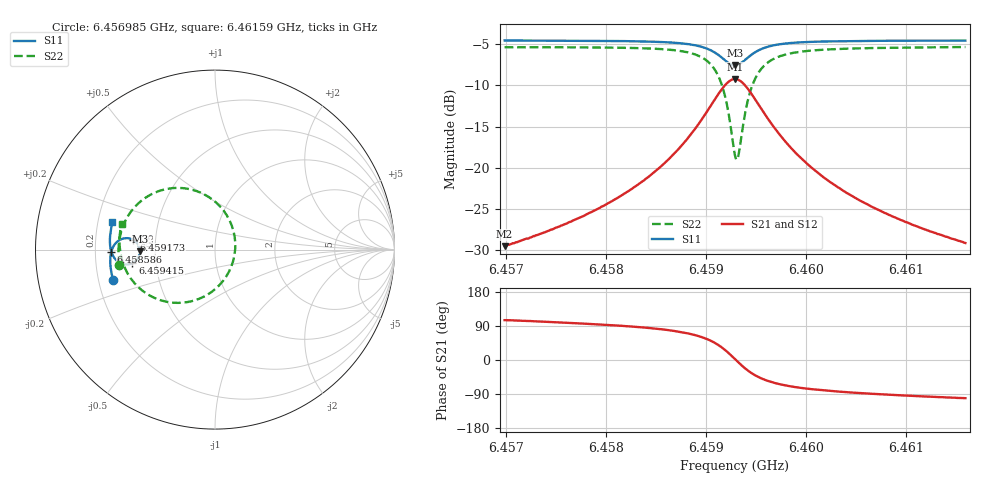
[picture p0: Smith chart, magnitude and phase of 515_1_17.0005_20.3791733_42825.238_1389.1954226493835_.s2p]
#  HZ  S  RI  R  50.00
! Rohde & Schwarz Vector Network Analyzer
! Rohde-Schwarz,ZNB20-2Port,1311601062101988,3.16
! Created: UTC 3/20/2024, 11:15:09 PM
! freq[Hz]  re:S11  im:S11  re:S21  im:S21  re:S12  im:S12  re:S22  im:S22
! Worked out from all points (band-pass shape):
!   401 points, 6.456985 GHz to 6.46159 GHz, reference 50 ohm
!   highest |S21| = -9.23 dB at 6.459288 GHz (marker M1); lowest = -29.5 dB at 6.456985 GHz (marker M2)
!   |S21| within 3 dB of the highest: 6.459058 GHz to 6.459518 GHz (460.3 kHz wide, 0.00713 % of centre)
!   lowest |S11| = -7.6 dB at 6.459288 GHz (marker M3), VSWR 2.44, Z = 20.5 - j0.474 ohm
!   |S11| at or under -10 dB: nowhere
!   |S22| runs from -19.0 to -5.3 dB; largest |S21 - S12| = 0.014
!   S11 on the Smith chart (normalised r, x): 6.456985 GHz: 0.26, -0.14; 6.458586 GHz: 0.27, -0.01; 6.459173 GHz: 0.37, +0.05; 6.459415 GHz: 0.37, -0.07; 6.46159 GHz: 0.26, +0.12
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6.4569854e9  -0.5668 -0.1716  -0.00877 0.0324  -0.00715 0.0322  -0.5321 -0.0842
6.4577567e9  -0.5809 -0.1042  -0.00564 0.0503  -0.00301 0.0498  -0.5376 0.00603
6.4581597e9  -0.5837 -0.064  -0.000188 0.0684  0.00311 0.0671  -0.5302 0.0693
6.4585281e9  -0.5798 -0.0202  0.0143 0.0987  0.0182 0.0958  -0.5039 0.1512
6.4585856e9  -0.578 -0.0123  0.0185 0.1055  0.0227 0.1024  -0.4957 0.1678
6.4587928e9  -0.565 0.0197  0.0461 0.1379  0.0502 0.1329  -0.4443 0.2406
6.4589425e9  -0.5423 0.0461  0.0913 0.1684  0.0945 0.1616  -0.3607 0.3049
6.4590807e9  -0.4987 0.0636  0.1784 0.1849  0.1793 0.1775  -0.2015 0.3436
6.4591728e9  -0.4541 0.0534  0.2682 0.1536  0.2686 0.1477  -0.0351 0.2934
6.4592418e9  -0.4251 0.0215  0.3288 0.0819  0.3309 0.0765  0.0805 0.1641
6.4592879e9  -0.4182 -0.00954  0.3451 0.0141  0.3488 0.00702  0.1128 0.0371
6.4593109e9  -0.42 -0.0254  0.343 -0.0213  0.347 -0.0296  0.1086 -0.0299
6.4593224e9  -0.4222 -0.0332  0.3394 -0.0384  0.3433 -0.0475  0.1015 -0.0625
6.4593685e9  -0.4378 -0.0592  0.3109 -0.0985  0.3131 -0.1103  0.0437 -0.1758
6.4594145e9  -0.4598 -0.0756  0.2688 -0.1396  0.2678 -0.1527  -0.0414 -0.2508
6.4595066e9  -0.5032 -0.0823  0.1838 -0.1706  0.1778 -0.1821  -0.2105 -0.2968
6.4596563e9  -0.5469 -0.0617  0.096 -0.1567  0.0876 -0.1628  -0.3783 -0.2472
6.4598175e9  -0.5685 -0.0342  0.0513 -0.1286  0.0436 -0.1314  -0.4586 -0.1749
6.4600592e9  -0.5811 0.00158  0.0222 -0.0971  0.0163 -0.0978  -0.5066 -0.0924
6.4604161e9  -0.5857 0.0437  0.00601 -0.0697  0.00178 -0.0693  -0.5283 -0.011
6.4608306e9  -0.5835 0.0853  -0.00152 -0.0518  -0.00435 -0.051  -0.5319 0.055
6.4615904e9  -0.5712 0.1525  -0.0065 -0.0344  -0.00839 -0.0337  -0.5205 0.1447
